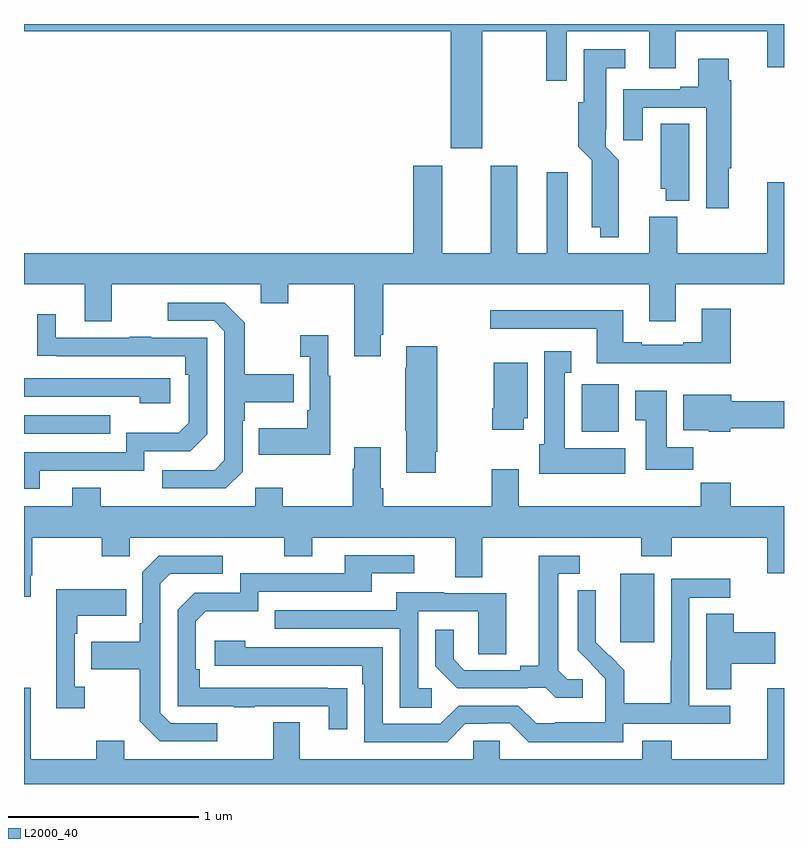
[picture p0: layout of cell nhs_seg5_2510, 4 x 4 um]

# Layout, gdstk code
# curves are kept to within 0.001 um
import gdstk
lib = gdstk.Library(unit=1e-6, precision=1e-09)
def R(c, l, rs):  # rectangles x0, y0, x1, y1
    for r in rs: c.add(gdstk.rectangle(r[:2], r[2:], *l))
def P(c, l, *ps):  # polygons
    for p in ps: c.add(gdstk.Polygon(p, *l))
L2000_40 = (2000, 40)

nhs_seg5_2510 = lib.new_cell('nhs_seg5_2510')
R(nhs_seg5_2510, L2000_40, [(260.138,853.545,260.317,853.906), (257,854.643,257.453,854.739), (259.935,854.654,260.131,854.904)])
P(nhs_seg5_2510, L2000_40, [(259.411,856.76),(259.749,856.76),(259.749,856.5),(259.857,856.5),(259.857,856.76),(260.291,856.76),(260.291,856.566),(260.431,856.566),(260.431,856.76),(260.912,856.76),(260.912,856.572),(261,856.572),(261,856.799),(257,856.799),(257,856.76),(259.247,856.76),(259.247,856.146),(259.411,856.146)],
  [(260.13,855.98),(260.131,856.082),(260.061,856.152),(260.061,856.246),(260.065,856.246),(260.065,856.565),(260.164,856.565),(260.164,856.666),(259.946,856.666),(259.946,856.386),(259.916,856.386),(259.916,856.154),(259.988,856.082),(259.988,855.728),(260.033,855.728),(260.033,855.677),(260.13,855.677)],
  [(260.71,856.04),(260.723,856.04),(260.723,856.502),(260.71,856.502),(260.71,856.615),(260.549,856.615),(260.549,856.468),(260.453,856.468),(260.453,856.455),(260.153,856.455),(260.153,856.188),(260.257,856.188),(260.257,856.359),(260.591,856.359),(260.591,855.828),(260.71,855.828)],
  [(260.5,856.274),(260.351,856.274),(260.351,855.933),(260.378,855.933),(260.378,855.869),(260.5,855.869)],
  [(258.877,855.163),(258.89,855.163),(258.89,855.428),(260.291,855.428),(260.291,855.234),(260.431,855.234),(260.431,855.428),(261,855.428),(261,855.967),(260.912,855.967),(260.912,855.592),(260.439,855.592),(260.439,855.784),(260.291,855.784),(260.291,855.592),(259.861,855.592),(259.861,856.018),(259.751,856.018),(259.751,855.592),(259.597,855.592),(259.597,856.054),(259.457,856.054),(259.457,855.592),(259.201,855.592),(259.201,856.054),(259.049,856.054),(259.049,855.592),(257,855.592),(257,855.428),(257.321,855.428),(257.321,855.234),(257.461,855.234),(257.461,855.428),(258.245,855.428),(258.245,855.329),(258.392,855.329),(258.392,855.428),(258.737,855.428),(258.737,855.051),(258.877,855.051)],
  [(258.15,854.442),(258.15,854.711),(258.163,854.711),(258.163,854.807),(258.419,854.807),(258.419,854.955),(258.163,854.955),(258.163,855.227),(258.057,855.333),(257.757,855.333),(257.757,855.237),(258,855.237),(258.054,855.183),(258.054,854.502),(258.003,854.451),(257.727,854.451),(257.727,854.355),(258.063,854.355)],
  [(260.72,855.301),(260.567,855.301),(260.567,855.124),(260.471,855.124),(260.471,855.111),(260.251,855.111),(260.251,855.124),(260.155,855.124),(260.155,855.292),(259.455,855.292),(259.455,855.195),(260.015,855.195),(260.015,855.014),(260.72,855.014)],
  [(257.083,854.448),(257.634,854.448),(257.634,854.55),(257.874,854.55),(257.964,854.64),(257.964,855.147),(257.669,855.147),(257.669,855.152),(257.557,855.152),(257.557,855.147),(257.167,855.147),(257.167,855.271),(257.071,855.271),(257.071,855.052),(257.848,855.051),(257.848,854.954),(257.868,854.954),(257.868,854.7),(257.815,854.647),(257.538,854.647),(257.538,854.544),(257,854.544),(257,854.352),(257.083,854.352)],
  [(258.613,854.947),(258.601,854.947),(258.601,855.16),(258.453,855.16),(258.453,855.047),(258.504,855.047),(258.504,854.767),(258.492,854.767),(258.492,854.671),(258.235,854.671),(258.235,854.531),(258.613,854.531)],
  [(259.168,854.548),(259.176,854.548),(259.176,855.103),(259.013,855.103),(259.013,854.99),(259.006,854.99),(259.006,854.659),(259.013,854.659),(259.013,854.436),(259.168,854.436)],
  [(260.164,854.566),(259.846,854.566),(259.846,854.963),(259.879,854.963),(259.879,855.076),(259.739,855.076),(259.739,854.586),(259.712,854.586),(259.712,854.432),(260.164,854.432)],
  [(259.63,854.724),(259.651,854.724),(259.651,855.016),(259.472,855.016),(259.472,854.776),(259.465,854.776),(259.465,854.664),(259.63,854.664)],
  [(257.77,854.934),(257,854.934),(257,854.838),(257.609,854.838),(257.609,854.804),(257.77,854.804)],
  [(260.522,854.572),(260.383,854.572),(260.383,854.869),(260.216,854.869),(260.216,854.713),(260.273,854.713),(260.273,854.454),(260.522,854.454)],
  [(260.718,854.671),(261,854.671),(261,854.813),(260.722,854.813),(260.722,854.848),(260.471,854.848),(260.471,854.66),(260.604,854.66),(260.604,854.654),(260.718,854.654)],
  [(257.035,853.897),(257.043,853.897),(257.043,854.096),(257.41,854.096),(257.41,853.997),(257.556,853.997),(257.556,854.096),(258.37,854.096),(258.37,853.997),(258.517,853.997),(258.517,854.096),(259.271,854.096),(259.271,853.888),(259.411,853.888),(259.411,854.096),(260.248,854.096),(260.248,853.997),(260.408,853.997),(260.408,854.096),(260.912,854.096),(260.912,853.908),(261,853.908),(261,854.26),(260.72,854.26),(260.72,854.384),(260.563,854.384),(260.563,854.26),(259.603,854.26),(259.603,854.455),(259.463,854.455),(259.463,854.26),(258.89,854.26),(258.89,854.356),(258.877,854.356),(258.877,854.572),(258.737,854.572),(258.737,854.459),(258.73,854.459),(258.73,854.26),(258.363,854.26),(258.363,854.359),(258.216,854.359),(258.216,854.26),(257.403,854.26),(257.403,854.359),(257.255,854.359),(257.255,854.26),(257,854.26),(257,853.785),(257.035,853.785)],
  [(258.701,853.304),(257.924,853.305),(257.924,853.402),(257.904,853.402),(257.904,853.656),(257.957,853.709),(258.234,853.709),(258.234,853.812),(258.829,853.812),(258.829,853.908),(259.054,853.908),(259.054,854.004),(258.689,854.004),(258.689,853.908),(258.138,853.908),(258.138,853.806),(257.898,853.806),(257.808,853.716),(257.808,853.209),(258.103,853.209),(258.103,853.204),(258.215,853.204),(258.215,853.209),(258.605,853.209),(258.605,853.086),(258.701,853.086)],
  [(258.016,853.119),(257.772,853.119),(257.718,853.173),(257.718,853.854),(257.769,853.905),(258.046,853.905),(258.046,854.001),(257.709,854.001),(257.622,853.914),(257.622,853.645),(257.61,853.645),(257.61,853.549),(257.353,853.549),(257.353,853.402),(257.61,853.402),(257.61,853.129),(257.715,853.023),(258.016,853.023)],
  [(259.942,853.35),(259.86,853.35),(259.813,853.397),(259.813,853.905),(259.924,853.905),(259.924,854.001),(259.709,854.001),(259.709,853.421),(259.613,853.421),(259.613,853.398),(259.318,853.398),(259.261,853.455),(259.261,853.612),(259.164,853.612),(259.164,853.418),(259.28,853.302),(259.652,853.302),(259.652,853.305),(259.746,853.305),(259.798,853.253),(259.942,853.253)],
  [(260.154,853.116),(260.716,853.116),(260.716,853.212),(260.502,853.212),(260.502,853.779),(260.716,853.779),(260.716,853.878),(260.406,853.878),(260.406,853.448),(260.404,853.448),(260.404,853.225),(260.159,853.225),(260.159,853.399),(260.082,853.476),(260.079,853.473),(260.009,853.544),(260.01,853.82),(259.914,853.82),(259.914,853.502),(260.06,853.354),(260.06,853.257),(260.058,853.257),(260.058,853.123),(259.795,853.123),(259.795,853.119),(259.695,853.119),(259.602,853.212),(259.287,853.212),(259.191,853.116),(258.888,853.116),(258.888,853.518),(258.164,853.518),(258.164,853.552),(258.003,853.552),(258.003,853.422),(258.779,853.422),(258.779,853.325),(258.792,853.325),(258.792,853.02),(259.227,853.02),(259.323,853.116),(259.442,853.116),(259.442,853.119),(259.557,853.119),(259.657,853.019),(260.154,853.019)],
  [(257.32,853.31),(257.268,853.31),(257.268,853.589),(257.281,853.589),(257.281,853.685),(257.537,853.685),(257.537,853.825),(257.171,853.825),(257.171,853.197),(257.32,853.197)],
  [(259.147,853.302),(259.074,853.302),(259.074,853.707),(259.392,853.707),(259.392,853.483),(259.537,853.483),(259.537,853.803),(259.213,853.803),(259.213,853.807),(258.959,853.807),(258.959,853.713),(258.319,853.713),(258.319,853.617),(258.978,853.617),(258.978,853.201),(259.147,853.201)],
  [(260.722,853.433),(260.953,853.433),(260.953,853.599),(260.735,853.599),(260.735,853.694),(260.591,853.694),(260.591,853.297),(260.722,853.297)],
  [(261,853.303),(260.912,853.303),(260.912,852.928),(260.408,852.928),(260.408,853.027),(260.255,853.027),(260.255,852.928),(259.503,852.928),(259.503,853.026),(259.365,853.026),(259.365,852.928),(258.451,852.928),(258.451,853.123),(258.311,853.123),(258.311,852.928),(257.527,852.928),(257.527,853.027),(257.38,853.027),(257.38,852.928),(257.035,852.928),(257.035,853.306),(257,853.306),(257,852.799),(261,852.799)])

lib.write_gds('nhs_seg5_2510.gds')
